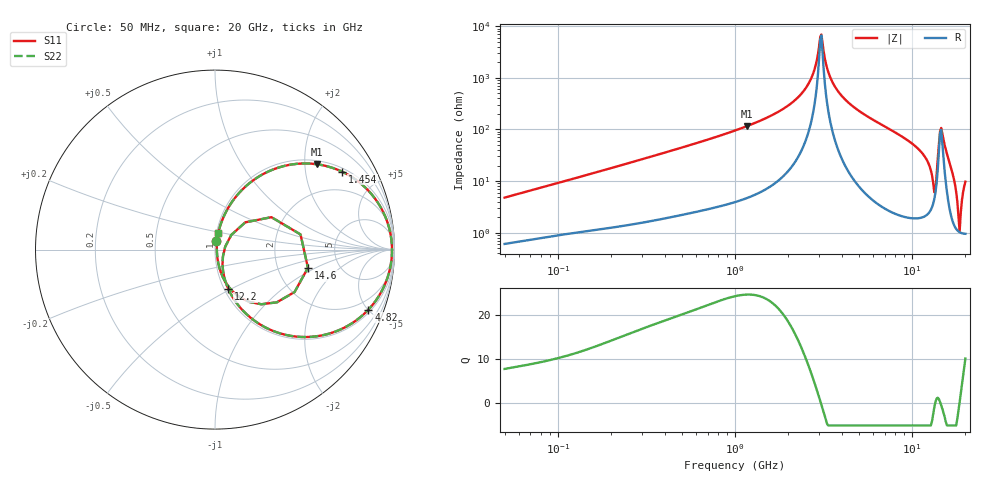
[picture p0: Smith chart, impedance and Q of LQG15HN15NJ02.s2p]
!Murata Part Number: LQG15HN15NJ02
!These Parameters are Measured in Series Mode Connection
!  o--[Z]--o
!Port1  Port2
!  o-------o
!Freq. Start=50[MHz] Stop=20[GHz], 401[Steps]
# Hz S RI R 50
!Freq.(Hz) S11(Real) S11(Imag) S21(Real) S21(Imag) S12(Real) S12(Imag) S22(Real) S22(Imag)
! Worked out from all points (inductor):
!   401 points, 50 MHz to 20 GHz, reference 50 ohm
!   read as one part in series: L = 14.9 nH near 51.52 MHz
!   highest Q = 24.7 at 1.162 GHz (marker M1), where L = 15.8 nH
!   self-resonance near 3.03 GHz
!   S11 on the Smith chart (normalised r, x): 50 MHz: 1.01, +0.10; 1.454 GHz: 1.13, +3.17; 4.82 GHz: 1.19, -5.04; 12.2 GHz: 1.05, -0.49; 14.6 GHz: 2.97, -0.84; 20 GHz: 1.02, +0.19
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5e7  0.00825 0.0468  0.9917 -0.0468  0.9917 -0.0468  0.00825 0.0468
1.364002e8  0.0248 0.1188  0.9752 -0.1188  0.9752 -0.1188  0.0248 0.1188
3.721004e8  0.1108 0.2878  0.8892 -0.2878  0.8892 -0.2878  0.1108 0.2878
1e9  0.4769 0.4793  0.5231 -0.4793  0.5231 -0.4793  0.4769 0.4793
1.161586e9  0.5673 0.4756  0.4327 -0.4756  0.4327 -0.4756  0.5673 0.4756
1.454215e9  0.7074 0.4346  0.2926 -0.4346  0.2926 -0.4346  0.7074 0.4346
2.179053e9  0.9178 0.2449  0.0822 -0.2449  0.0822 -0.2449  0.9178 0.2449
2.728004e9  0.9776 0.088  0.0224 -0.088  0.0224 -0.088  0.9776 0.088
3.075291e9  0.9862 -0.0038  0.0138 0.0038  0.0138 0.0038  0.9862 -0.0038
3.572216e9  0.9717 -0.1205  0.0283 0.1205  0.0283 0.1205  0.9717 -0.1205
4.81993e9  0.855 -0.3342  0.145 0.3342  0.145 0.3342  0.855 -0.3342
7.442007e9  0.508 -0.4872  0.492 0.4872  0.492 0.4872  0.508 -0.4872
1.019291e10  0.2125 -0.3907  0.7875 0.3907  0.7875 0.3907  0.2125 -0.3907
1.220001e10  0.0747 -0.2206  0.9253 0.2206  0.9253 0.2206  0.0747 -0.2206
1.334722e10  0.0443 -0.0376  0.9557 0.0376  0.9557 0.0376  0.0443 -0.0376
1.396067e10  0.1687 0.1519  0.8313 -0.1519  0.8313 -0.1519  0.1687 0.1519
1.460232e10  0.5177 -0.1014  0.4823 0.1014  0.4823 0.1014  0.5177 -0.1014
1.527346e10  0.2584 -0.3045  0.7416 0.3045  0.7416 0.3045  0.2584 -0.3045
1.670968e10  0.0441 -0.1545  0.9559 0.1545  0.9559 0.1545  0.0441 -0.1545
1.828096e10  0.0108 -0.0172  0.9892 0.0172  0.9892 0.0172  0.0108 -0.0172
1.88369e10  0.0104 0.022  0.9896 -0.022  0.9896 -0.022  0.0104 0.022
2e10  0.0185 0.0944  0.9815 -0.0944  0.9815 -0.0944  0.0185 0.0944
